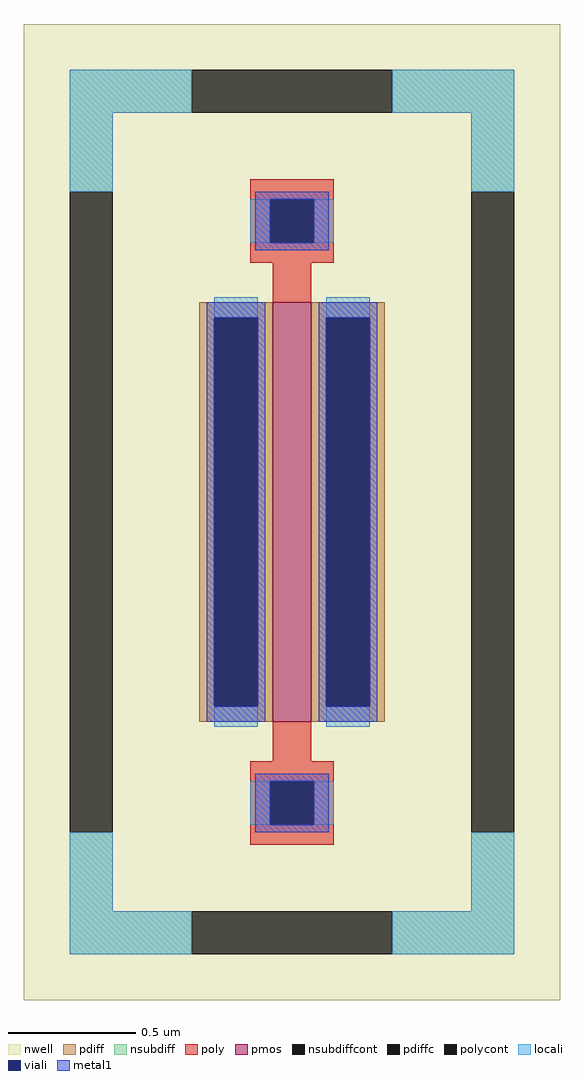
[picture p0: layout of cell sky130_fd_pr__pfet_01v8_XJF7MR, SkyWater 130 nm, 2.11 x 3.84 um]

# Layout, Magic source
magic
tech sky130A
magscale 1 2
<< nwell >>
rect -211 -384 211 384
<< pmos >>
rect -15 -165 15 165
<< pdiff >>
rect -73 153 -15 165
rect -73 -153 -61 153
rect -27 -153 -15 153
rect -73 -165 -15 -153
rect 15 153 73 165
rect 15 -153 27 153
rect 61 -153 73 153
rect 15 -165 73 -153
<< pdiffc >>
rect -61 -153 -27 153
rect 27 -153 61 153
<< nsubdiff >>
rect -175 314 -79 348
rect 79 314 175 348
rect -175 252 -141 314
rect 141 252 175 314
rect -175 -314 -141 -252
rect 141 -314 175 -252
rect -175 -348 -79 -314
rect 79 -348 175 -314
<< nsubdiffcont >>
rect -79 314 79 348
rect -175 -252 -141 252
rect 141 -252 175 252
rect -79 -348 79 -314
<< poly >>
rect -33 246 33 262
rect -33 212 -17 246
rect 17 212 33 246
rect -33 196 33 212
rect -15 165 15 196
rect -15 -196 15 -165
rect -33 -212 33 -196
rect -33 -246 -17 -212
rect 17 -246 33 -212
rect -33 -262 33 -246
<< polycont >>
rect -17 212 17 246
rect -17 -246 17 -212
<< locali >>
rect -175 314 -79 348
rect 79 314 175 348
rect -175 252 -141 314
rect 141 252 175 314
rect -33 212 -17 246
rect 17 212 33 246
rect -61 153 -27 169
rect -61 -169 -27 -153
rect 27 153 61 169
rect 27 -169 61 -153
rect -33 -246 -17 -212
rect 17 -246 33 -212
rect -175 -314 -141 -252
rect 141 -314 175 -252
rect -175 -348 -79 -314
rect 79 -348 175 -314
<< viali >>
rect -17 212 17 246
rect -61 -153 -27 153
rect 27 -153 61 153
rect -17 -246 17 -212
<< metal1 >>
rect -29 246 29 252
rect -29 212 -17 246
rect 17 212 29 246
rect -29 206 29 212
rect -67 153 -21 165
rect -67 -153 -61 153
rect -27 -153 -21 153
rect -67 -165 -21 -153
rect 21 153 67 165
rect 21 -153 27 153
rect 61 -153 67 153
rect 21 -165 67 -153
rect -29 -212 29 -206
rect -29 -246 -17 -212
rect 17 -246 29 -212
rect -29 -252 29 -246
<< properties >>
string FIXED_BBOX -158 -331 158 331
string gencell sky130_fd_pr__pfet_01v8
string library sky130
string parameters w 1.65 l 0.15 m 1 nf 1 diffcov 100 polycov 100 guard 1 glc 1 grc 1 gtc 1 gbc 1 tbcov 100 rlcov 100 topc 1 botc 1 poverlap 0 doverlap 1 lmin 0.15 wmin 0.42 compatible {sky130_fd_pr__pfet_01v8  sky130_fd_pr__pfet_01v8_lvt sky130_fd_pr__pfet_01v8_hvt  sky130_fd_pr__pfet_g5v0d10v5} full_metal 1 viasrc 100 viadrn 100 viagate 100 viagb 0 viagr 0 viagl 0 viagt 0
<< end >>
